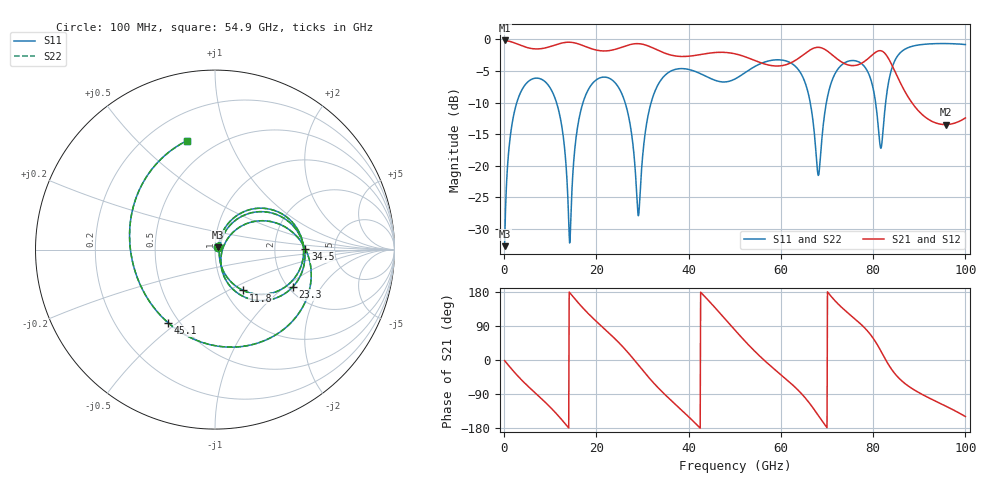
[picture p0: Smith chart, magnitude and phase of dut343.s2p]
! Touchstone file exported from HFSS 2026.1.0
!  File:  C:/ffzhzh/LocalFiles/Ansys_Project_Files/temp_train_TSV_RDL_343_1783706778_45164.aedt
!  Generated:  02:18:29 AM Jul 11, 2026
!  Design:  TSV_RDL
!  Project:  temp_train_TSV_RDL_343_1783706778_45164
! Variables:
!  h_bsmrdl = 3.89um
!  h_ox = 20um
!  h_rdl = 5um
!  h_sub = 71.08um
!  h_tmrdl = 4.97um
!  h_tsv = 71.08um
!  h_via = 3um
!  l_bsmrdl = 506.93um
!  l_sub = 4355.89um
!  l_tmrdl = 578.79um
!  m_sub = 200um
!  pitch = 46.3um
!  r_tsv = 10um
!  s_tmrdl = 10um
!  w_bsmrdl = 13.11um
!  w_sub = 500um
!  w_tmrdl = 26.87um
!  x_tsv_center1 = 592.225um
!  x_tsv_center2 = 1112.265um
!  x_tsv_center3 = 1717.925um
!  x_tsv_center4 = 2237.965um
!  x_tsv_center5 = 2843.625um
!  x_tsv_center6 = 3363.665um
# GHz S MA R 50.000000
! Terminal data exported
! Port[1] = TM_RDL1_1_T1
! Port[2] = TM_RDL5_1_T1
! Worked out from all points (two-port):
!   1000 points, 100 MHz to 100 GHz, reference 50 ohm
!   highest |S21| = -0.16 dB at 100 MHz (marker M1); lowest = -13.5 dB at 95.7 GHz (marker M2)
!   |S21| within 3 dB of the highest: start of sweep to 53.74 GHz; 63.47 GHz to 72.34 GHz (8.866 GHz wide, 13.1 % of centre) (the widest 2 of 3)
!   lowest |S11| = -32.7 dB at 100 MHz (marker M3), VSWR 1.05, Z = 51.9 + j1.44 ohm
!   |S11| at or under -10 dB: 11.35 GHz to 17.1 GHz (5.747 GHz wide, 40.4 % of centre); 26.22 GHz to 31.87 GHz (5.645 GHz wide, 19.4 % of centre); 66.36 GHz to 69.86 GHz (3.505 GHz wide, 5.15 % of centre) (the widest 3 of 5)
!   |S22| runs from -32.7 to -0.6 dB; largest |S21 - S12| = 1.6e-14
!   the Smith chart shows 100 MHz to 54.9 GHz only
!   S11 on the Smith chart (normalised r, x): 100 MHz: 1.04, +0.03; 11.8 GHz: 1.21, -0.60; 23.3 GHz: 2.11, -1.14; 34.5 GHz: 3.03, +0.03; 45.1 GHz: 0.44, -0.47; 54.9 GHz: 0.36, +0.71
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0.1  0.02305 37.0  0.9819 -1.6  0.9819 -1.6  0.02305 37.0
! Gamma 0 0 0 0
! Port Impedance 50 0 50 0
3.6  0.3829 35.8  0.8974 -50.4  0.8974 -50.4  0.3829 35.8
11.8  0.276 -55.5  0.9222 -148.0  0.9222 -148.0  0.276 -55.5
14.2  0.02443 -8.9  0.9508 177.8  0.9508 177.8  0.02426 -9.0
16.8  0.2899 45.1  0.9028 140.9  0.9028 140.9  0.2899 45.2
23.3  0.4807 -25.5  0.822 64.5  0.822 64.5  0.4808 -25.5
29.1  0.04014 -14.9  0.9261 -13.1  0.9261 -13.1  0.04003 -15.0
33.4  0.4406 13.0  0.819 -73.4  0.819 -73.4  0.4404 13.0
34.5  0.5036 0.4  0.7872 -86.9  0.7872 -86.9  0.5034 0.5
45.1  0.4846 -122.4  0.784 146.5  0.784 146.5  0.4844 -122.3
50.1  0.4874 167.2  0.7688 78.1  0.7688 78.1  0.4873 167.3
54.9  0.626 104.6  0.669 16.3  0.669 16.3  0.626 104.6
62  0.656 31.8  0.6488 -59.7  0.6488 -59.7  0.656 31.7
66.7  0.266 -16.2  0.8401 -122.1  0.8401 -122.1  0.2653 -16.8
68.2  0.08474 40.4  0.8663 -148.0  0.8663 -148.0  0.08157 40.7
70  0.3362 77.7  0.813 -178.6  0.813 -178.6  0.3354 78.3
77.7  0.6333 3.4  0.6545 90.3  0.6545 90.3  0.6334 3.6
81.6  0.1388 12.9  0.8144 25.5  0.8144 25.5  0.142 13.3
83.4  0.4711 58.7  0.6989 -13.5  0.6989 -13.5  0.4721 58.4
88.2  0.8772 11.7  0.3235 -73.5  0.3235 -73.5  0.8774 11.6
95.7  0.928 -31.8  0.2117 -121.5  0.2117 -121.5  0.928 -31.8
100  0.9112 -57.3  0.2391 -149.2  0.2391 -149.2  0.9111 -57.3
